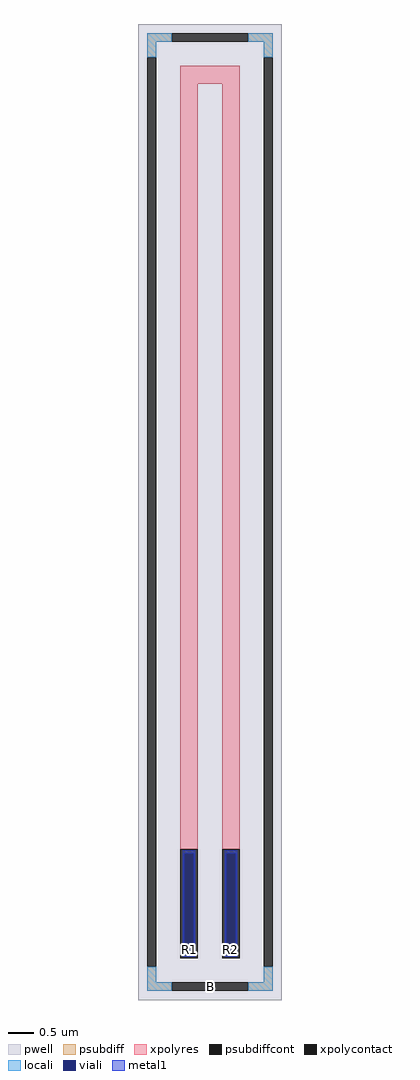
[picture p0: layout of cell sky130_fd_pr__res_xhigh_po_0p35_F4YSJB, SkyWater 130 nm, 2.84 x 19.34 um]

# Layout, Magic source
magic
tech sky130A
magscale 1 2
<< pwell >>
rect -284 -1934 284 1934
<< psubdiff >>
rect -248 1864 -152 1898
rect 152 1864 248 1898
rect -248 1802 -214 1864
rect 214 1802 248 1864
rect -248 -1864 -214 -1802
rect 214 -1864 248 -1802
rect -248 -1898 -152 -1864
rect 152 -1898 248 -1864
<< psubdiffcont >>
rect -152 1864 152 1898
rect -248 -1802 -214 1802
rect 214 -1802 248 1802
rect -152 -1898 152 -1864
<< xpolycontact >>
rect -118 -1768 -48 -1336
rect 48 -1768 118 -1336
<< xpolyres >>
rect -118 1698 118 1768
rect -118 -1336 -48 1698
rect 48 -1336 118 1698
<< locali >>
rect -248 1864 -152 1898
rect 152 1864 248 1898
rect -248 1802 -214 1864
rect 214 1802 248 1864
rect -248 -1864 -214 -1802
rect 214 -1864 248 -1802
rect -248 -1898 -152 -1864
rect 152 -1898 248 -1864
<< viali >>
rect -102 -1750 -64 -1353
rect 64 -1750 102 -1353
<< metal1 >>
rect -108 -1353 -58 -1341
rect -108 -1750 -102 -1353
rect -64 -1750 -58 -1353
rect -108 -1762 -58 -1750
rect 58 -1353 108 -1341
rect 58 -1750 64 -1353
rect 102 -1750 108 -1353
rect 58 -1762 108 -1750
<< labels >>
rlabel psubdiffcont 0 -1881 0 -1881 0 B
port 1 nsew
rlabel xpolycontact -83 -1733 -83 -1733 0 R1
port 2 nsew
rlabel xpolycontact 83 -1733 83 -1733 0 R2
port 3 nsew
<< properties >>
string FIXED_BBOX -231 -1881 231 1881
string gencell sky130_fd_pr__res_xhigh_po_0p35
string library sky130
string parameters w 0.35 l 15 m 1 nx 2 wmin 0.350 lmin 0.50 class resistor rho 2000 val 174.504k dummy 0 dw 0.0 term 188.2 sterm 0.0 caplen 0 wmax 0.350 guard 1 glc 1 grc 1 gtc 1 gbc 1 compatible {sky130_fd_pr__res_xhigh_po_0p35  sky130_fd_pr__res_xhigh_po_0p69 sky130_fd_pr__res_xhigh_po_1p41  sky130_fd_pr__res_xhigh_po_2p85 sky130_fd_pr__res_xhigh_po_5p73} snake 1 full_metal 1 n_guard 0 hv_guard 0 vias 1 viagb 0 viagt 0 viagl 0 viagr 0 doports 1
<< end >>
